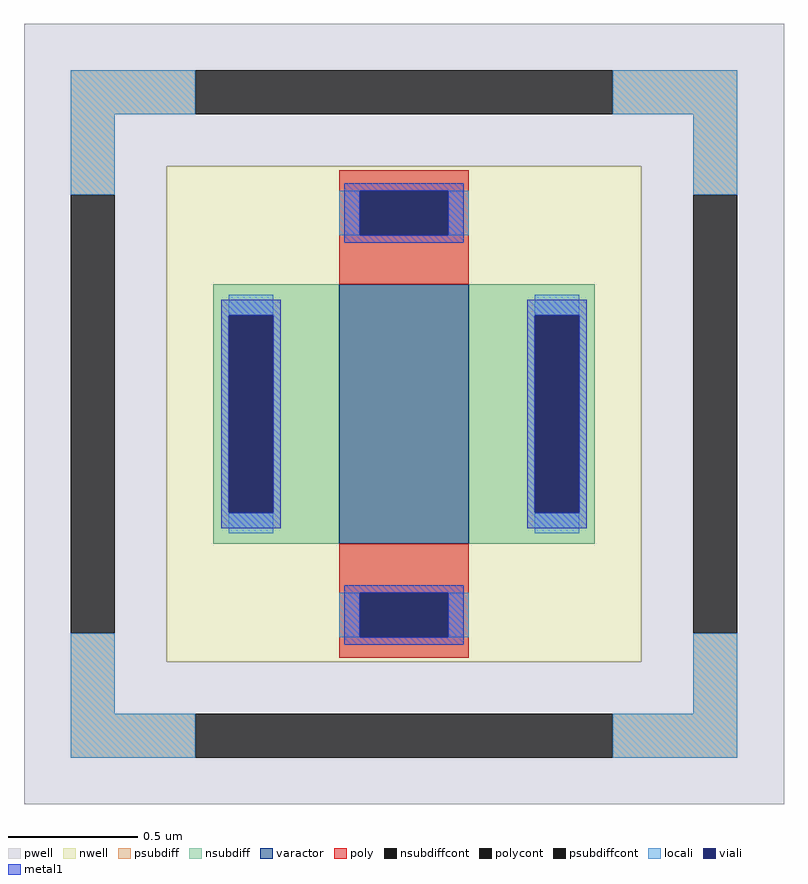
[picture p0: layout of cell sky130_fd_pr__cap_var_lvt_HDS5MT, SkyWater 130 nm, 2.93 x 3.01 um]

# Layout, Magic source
magic
tech sky130A
magscale 1 2
<< nwell >>
rect -183 -191 183 191
<< pwell >>
rect -293 191 293 301
rect -293 -191 -183 191
rect 183 -191 293 191
rect -293 -301 293 -191
<< varactor >>
rect -50 -100 50 100
<< psubdiff >>
rect -257 231 -161 265
rect 161 231 257 265
rect -257 169 -223 231
rect 223 169 257 231
rect -257 -231 -223 -169
rect 223 -231 257 -169
rect -257 -265 -161 -231
rect 161 -265 257 -231
<< nsubdiff >>
rect -147 76 -50 100
rect -147 -76 -135 76
rect -101 -76 -50 76
rect -147 -100 -50 -76
rect 50 76 147 100
rect 50 -76 101 76
rect 135 -76 147 76
rect 50 -100 147 -76
<< psubdiffcont >>
rect -161 231 161 265
rect -257 -169 -223 169
rect 223 -169 257 169
rect -161 -265 161 -231
<< nsubdiffcont >>
rect -135 -76 -101 76
rect 101 -76 135 76
<< poly >>
rect -50 172 50 188
rect -50 138 -34 172
rect 34 138 50 172
rect -50 100 50 138
rect -50 -138 50 -100
rect -50 -172 -34 -138
rect 34 -172 50 -138
rect -50 -188 50 -172
<< polycont >>
rect -34 138 34 172
rect -34 -172 34 -138
<< locali >>
rect -257 231 -161 265
rect 161 231 257 265
rect -257 169 -223 231
rect -50 138 -34 172
rect 34 138 50 172
rect 223 169 257 231
rect -135 76 -101 92
rect -135 -92 -101 -76
rect 101 76 135 92
rect 101 -92 135 -76
rect -257 -231 -223 -169
rect -50 -172 -34 -138
rect 34 -172 50 -138
rect 223 -231 257 -169
rect -257 -265 -161 -231
rect 161 -265 257 -231
<< viali >>
rect -34 138 34 172
rect -135 -76 -101 76
rect 101 -76 135 76
rect -34 -172 34 -138
<< metal1 >>
rect -46 172 46 178
rect -46 138 -34 172
rect 34 138 46 172
rect -46 132 46 138
rect -141 76 -95 88
rect -141 -76 -135 76
rect -101 -76 -95 76
rect -141 -88 -95 -76
rect 95 76 141 88
rect 95 -76 101 76
rect 135 -76 141 76
rect 95 -88 141 -76
rect -46 -138 46 -132
rect -46 -172 -34 -138
rect 34 -172 46 -138
rect -46 -178 46 -172
<< properties >>
string FIXED_BBOX -240 -248 240 248
string gencell sky130_fd_pr__cap_var_lvt
string library sky130
string parameters w 1.0 l 0.5 m 1 nf 1 diffcov 100 polycov 100 guard 1 glc 1 grc 1 gtc 1 gbc 1 tbcov 100 rlcov 100 topc 1 botc 1 poverlap 0 doverlap 1 lmin 0.18 wmin 1.0 compatible {sky130_fd_pr__cap_var_lvt  sky130_fd_pr__cap_var_hvt sky130_fd_pr__cap_var} full_metal 1 viasrc 100 viadrn 100 viagate 100 viagb 0 viagr 0 viagl 0 viagt 0
<< end >>
